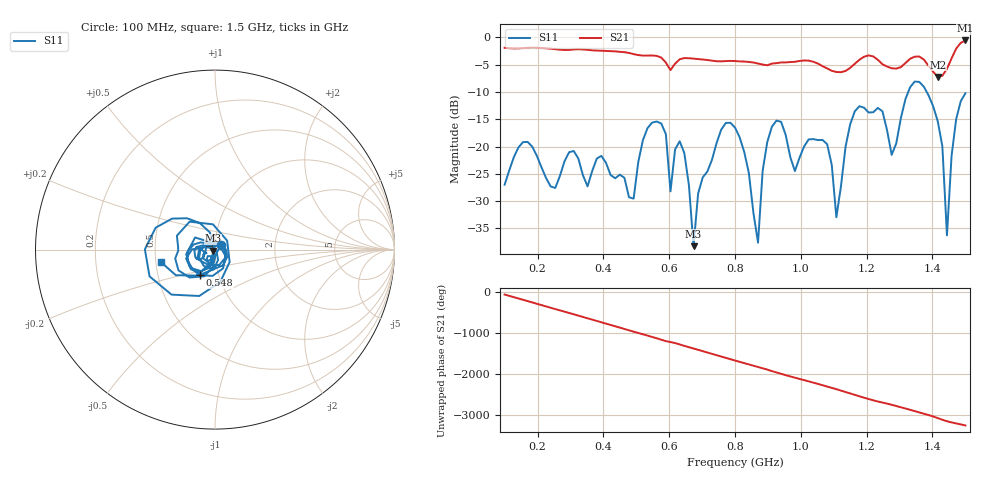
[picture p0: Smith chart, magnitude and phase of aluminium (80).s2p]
! NanoVNA-App
! Date: 2025-09-26 09:58:41
! Start: 100MHz Stop: 1,5GHz Points: 101
! S-Parameter data: F S11 S21 S12 S22
# Hz S RI R 50
!  Frequency  S11_Real  S11_Imag  S21_Real  S21_Imag  S12_Real  S12_Imag  S22_Real  S22_Imag
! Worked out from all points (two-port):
!   101 points, 100 MHz to 1.5 GHz, reference 50 ohm
!   highest |S21| = -0.57 dB at 1.5 GHz (marker M1); lowest = -7.2 dB at 1.416 GHz (marker M2)
!   |S21| within 3 dB of the highest: start of sweep to 569.9 MHz; 1.191 GHz to 1.222 GHz (30.24 MHz wide, 2.51 % of centre) (the widest 2 of 4)
!   lowest |S11| = -38.2 dB at 674 MHz (marker M3), VSWR 1.02, Z = 48.9 - j0.562 ohm
!   |S11| at or under -10 dB: start of sweep to 1.326 GHz; 1.383 GHz to end of sweep
!   S12 and S22 are empty: the file has one direction only
!   S11 on the Smith chart (normalised r, x): 100 MHz: 1.07, +0.06; 548 MHz: 0.81, -0.24; 1.5 GHz: 0.53, -0.08
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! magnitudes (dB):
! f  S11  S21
! 100 MHz  -27.0  -1.9
! 338 MHz  -25.3  -2.2
! 492 MHz  -29.5  -3.1
! 548 MHz  -15.6  -3.3
! 576 MHz  -15.8  -3.7
! 604 MHz  -28.2  -6.0
! 646 MHz  -21.2  -3.8
! 674 MHz  -38.2  -3.9
! 702 MHz  -25.6  -4.1
! 800 MHz  -16.5  -4.3
! 870 MHz  -37.6  -4.8
! 912 MHz  -16.4  -4.8
! 1.038 GHz  -18.6  -4.5
! 1.08 GHz  -19.6  -5.7
! 1.108 GHz  -32.9  -6.3
! 1.164 GHz  -13.5  -4.8
! 1.276 GHz  -21.5  -5.7
! 1.346 GHz  -8.1  -3.5
! 1.416 GHz  -15.4  -7.2
! 1.444 GHz  -36.3  -5.7
! 1.472 GHz  -15.0  -2.1
! 1.5 GHz  -10.2  -0.6
